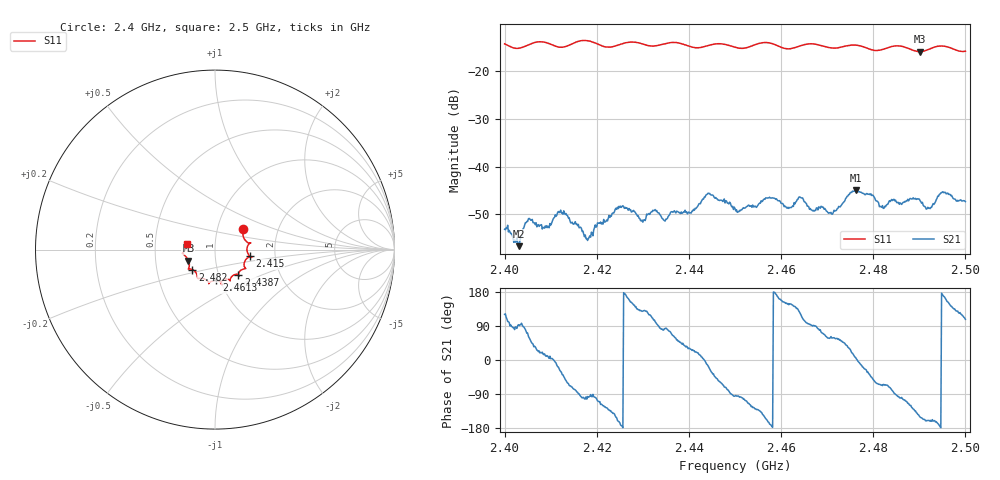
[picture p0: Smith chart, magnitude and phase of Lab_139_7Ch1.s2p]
# Hz S RI R 50
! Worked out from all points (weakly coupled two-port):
!   601 points, 2.4 GHz to 2.5 GHz, reference 50 ohm
!   highest |S21| = -45.01 dB at 2.4763 GHz (marker M1); lowest = -56.7 dB at 2.4032 GHz (marker M2)
!   lowest |S11| = -15.9 dB at 2.4902 GHz (marker M3), VSWR 1.38, Z = 36.9 - j4.61 ohm
!   |S11| at or under -10 dB: start of sweep to end of sweep
!   S12 and S22 are empty: the file has one direction only
!   S11 on the Smith chart (normalised r, x): 2.4 GHz: 1.33, +0.31; 2.415 GHz: 1.47, -0.11; 2.4387 GHz: 1.24, -0.36; 2.4613 GHz: 0.96, -0.34; 2.482 GHz: 0.76, -0.17; 2.5 GHz: 0.73, +0.05
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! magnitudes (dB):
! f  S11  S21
! 2.4 GHz  -14.3  -53.1
! 2.4032 GHz  -15.2  -56.7
! 2.4055 GHz  -14.4  -51.0
! 2.415 GHz  -14.1  -52.1
! 2.4167 GHz  -13.6  -53.0
! 2.4182 GHz  -13.7  -55.2
! 2.4253 GHz  -14.3  -48.6
! 2.43 GHz  -14.3  -51.7
! 2.4333 GHz  -14.6  -49.7
! 2.4387 GHz  -14.3  -49.7
! 2.4442 GHz  -14.6  -45.6
! 2.45 GHz  -15.0  -48.8
! 2.4572 GHz  -14.0  -46.6
! 2.4613 GHz  -15.3  -48.7
! 2.4643 GHz  -14.6  -46.6
! 2.4667 GHz  -14.3  -49.1
! 2.4715 GHz  -15.2  -49.2
! 2.4763 GHz  -14.6  -45.0
! 2.482 GHz  -15.5  -48.2
! 2.4833 GHz  -15.0  -47.5
! 2.4902 GHz  -15.9  -47.1
! 2.5 GHz  -15.8  -47.3
